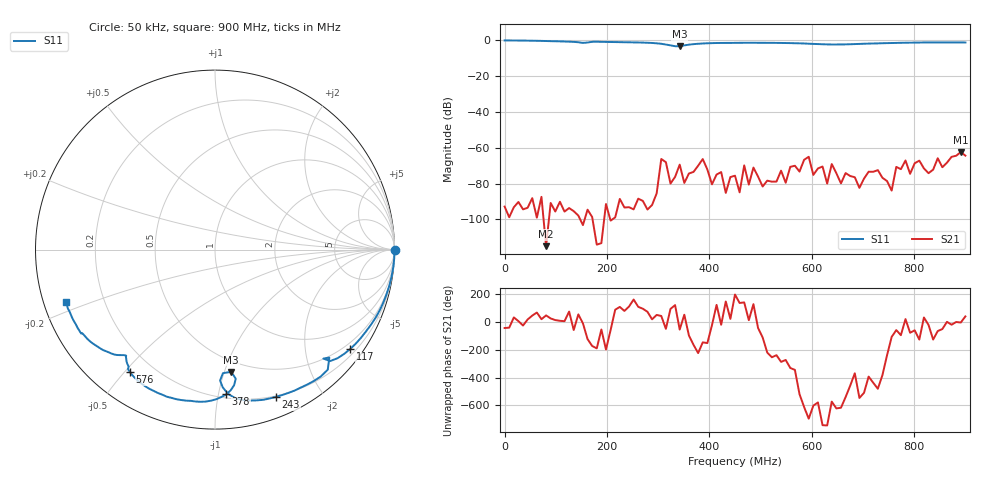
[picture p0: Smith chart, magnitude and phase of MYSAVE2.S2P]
!File created by NanoVNA
# Hz S RI R 50
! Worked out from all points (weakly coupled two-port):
!   101 points, 50 kHz to 900 MHz, reference 50 ohm
!   highest |S21| = -62.35 dB at 891 MHz (marker M1); lowest = -114.9 dB at 81.05 MHz (marker M2)
!   lowest |S11| = -3.3 dB at 342 MHz (marker M3), VSWR 5.40, Z = 20.4 - j52.8 ohm
!   |S11| at or under -10 dB: nowhere
!   S12 and S22 are empty: the file has one direction only
!   S11 on the Smith chart (normalised r, x): 50 kHz: open; 117 MHz: 0.34, -3.01; 243 MHz: 0.19, -1.48; 378 MHz: 0.23, -1.05; 576 MHz: 0.12, -0.52; 900 MHz: 0.07, -0.17
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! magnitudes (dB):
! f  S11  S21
! 50 kHz  0.0  -92.8
! 81.05 MHz  -0.3  -114.9
! 117 MHz  -0.6  -95.6
! 153 MHz  -1.3  -103.1
! 243 MHz  -1.0  -93.1
! 297 MHz  -1.6  -85.4
! 306 MHz  -1.9  -66.2
! 324 MHz  -2.7  -79.9
! 342 MHz  -3.3  -69.4
! 351 MHz  -2.7  -79.6
! 378 MHz  -1.8  -70.0
! 405 MHz  -1.5  -80.4
! 450 MHz  -1.3  -75.5
! 576 MHz  -1.6  -73.2
! 594 MHz  -1.8  -65.0
! 603 MHz  -1.9  -75.1
! 639 MHz  -2.3  -69.0
! 756 MHz  -1.4  -83.9
! 783 MHz  -1.3  -67.0
! 828 MHz  -1.1  -74.1
! 891 MHz  -1.1  -62.4
! 900 MHz  -1.1  -64.3
